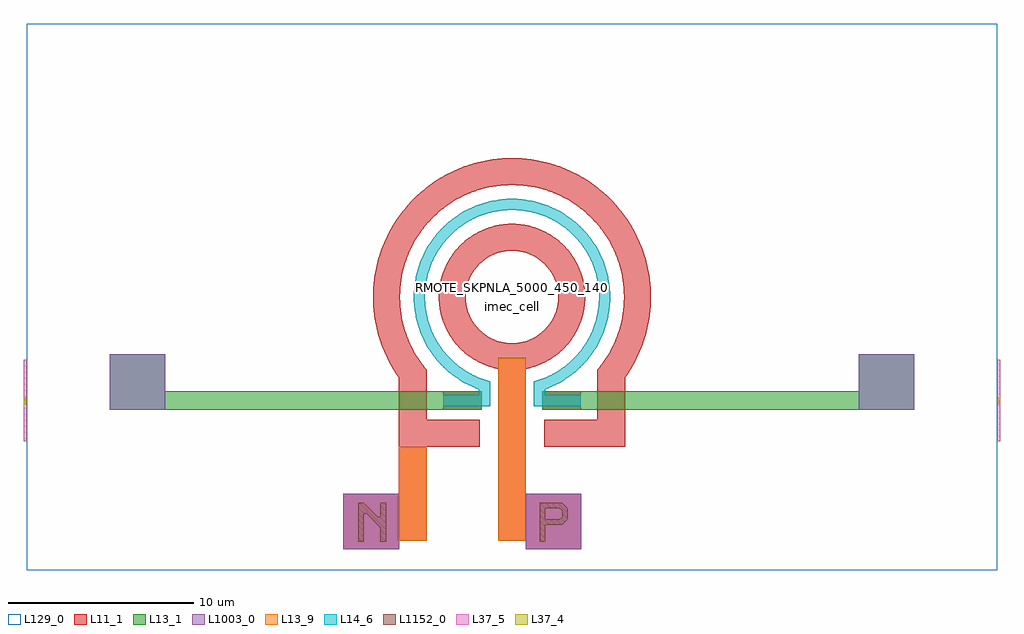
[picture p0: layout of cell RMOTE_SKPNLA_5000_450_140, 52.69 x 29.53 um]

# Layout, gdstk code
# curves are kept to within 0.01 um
import gdstk
lib = gdstk.Library(unit=1e-6, precision=1e-09)
def R(c, l, rs):  # rectangles x0, y0, x1, y1
    for r in rs: c.add(gdstk.rectangle(r[:2], r[2:], *l))
def P(c, l, *ps):  # polygons
    for p in ps: c.add(gdstk.Polygon(p, *l))
L11_1 = (11, 1)
L13_1 = (13, 1)
L13_9 = (13, 9)
L14_6 = (14, 6)
L37_4 = (37, 4)
L37_5 = (37, 5)
L129_0 = (129, 0)
L1003_0 = (1003, 0)
L1152_0 = (1152, 0)

rmote_skpnla_5000_450_14 = lib.new_cell('RMOTE_SKPNLA_5000_450_140')
R(rmote_skpnla_5000_450_14, L11_1, [(-3.721,-6.09,-1.641,-5.09), (1.641,-6.09,3.721,-5.09)])
P(rmote_skpnla_5000_450_14, L11_1, [(0.75,-13.625),(0.75,-13.165),(-0.75,-13.165),(-0.75,-3.878),(-1.089,-3.797),(-1.416,-3.688),(-1.732,-3.55),(-1.975,-3.421),(-2.266,-3.236),(-2.486,-3.07),(-2.744,-2.841),(-2.981,-2.591),(-3.196,-2.322),(-3.386,-2.034),(-3.55,-1.732),(-3.688,-1.416),(-3.797,-1.089),(-3.864,-0.821),(-3.912,-0.55),(-3.945,-0.207),(-3.945,0.207),(-3.912,0.55),(-3.833,0.956),(-3.712,1.351),(-3.55,1.732),(-3.386,2.034),(-3.196,2.322),(-2.935,2.643),(-2.694,2.889),(-2.377,3.155),(-2.093,3.35),(-1.732,3.55),(-1.351,3.712),(-0.956,3.833),(-0.55,3.912),(-0.207,3.945),(0.207,3.945),(0.686,3.89),(1.221,3.757),(1.607,3.609),(2.034,3.386),(2.432,3.113),(2.744,2.841),(3.058,2.5),(-0.044,2.5),(-0.348,2.476),(-0.731,2.391),(-1.057,2.266),(-1.362,2.097),(-1.673,1.858),(-1.858,1.673),(-1.997,1.505),(-2.143,1.288),(-2.266,1.057),(-2.364,0.814),(-2.436,0.562),(-2.476,0.348),(-2.5,0.044),(-2.494,-0.174),(-2.454,-0.477),(-2.378,-0.773),(-2.284,-1.017),(-2.143,-1.288),(-1.997,-1.505),(-1.858,-1.673),(-1.673,-1.858),(-1.398,-2.073),(-1.135,-2.228),(-0.896,-2.334),(-0.605,-2.426),(-0.348,-2.476),(-0.044,-2.5),(0.261,-2.486),(0.562,-2.436),(0.814,-2.364),(1.135,-2.228),(1.398,-2.073),(1.64,-1.887),(1.858,-1.673),(2.048,-1.434),(2.187,-1.212),(2.318,-0.937),(2.415,-0.647),(2.476,-0.348),(2.5,-0.044),(2.486,0.261),(2.436,0.562),(2.364,0.814),(2.228,1.135),(2.097,1.362),(1.887,1.64),(1.673,1.858),(1.434,2.048),(1.212,2.187),(0.937,2.318),(0.647,2.415),(0.348,2.476),(0.044,2.5),(3.058,2.5),(3.236,2.266),(3.421,1.975),(3.55,1.732),(3.688,1.416),(3.797,1.089),(3.864,0.821),(3.912,0.55),(3.945,0.207),(3.945,-0.207),(3.912,-0.55),(3.849,-0.889),(3.757,-1.221),(3.609,-1.607),(3.488,-1.854),(3.313,-2.151),(3.113,-2.432),(2.889,-2.694),(2.643,-2.935),(2.377,-3.155),(2.093,-3.35),(1.732,-3.55),(1.416,-3.688),(1.089,-3.797),(0.75,-3.878),(0.75,-10.625),(3.75,-10.625),(3.75,-13.625)],
  [(-9.1,-13.625),(-9.1,-10.625),(-6.113,-10.625),(-6.113,-4.345),(-6.429,-3.863),(-6.683,-3.405),(-6.954,-2.81),(-7.133,-2.318),(-7.308,-1.687),(-7.408,-1.173),(-7.482,-0.523),(-7.5,0),(-7.482,0.523),(-7.408,1.173),(-7.308,1.687),(-7.172,2.193),(-6.954,2.81),(-6.741,3.288),(-6.495,3.75),(-6.218,4.194),(-5.829,4.72),(-5.574,5.018),(-5.303,5.303),(-5.018,5.574),(-4.72,5.829),(-4.194,6.218),(-3.863,6.429),(-3.521,6.622),(-3.17,6.797),(-2.81,6.954),(-2.193,7.172),(-1.814,7.277),(-1.431,7.362),(-1.044,7.427),(-0.654,7.471),(-0.262,7.495),(0.131,7.499),(0.784,7.459),(1.173,7.408),(1.559,7.336),(2.318,7.133),(2.93,6.904),(3.288,6.741),(3.636,6.56),(4.194,6.218),(4.514,5.99),(4.821,5.745),(5.115,5.485),(5.395,5.21),(5.91,4.617),(6.144,4.302),(6.36,3.974),(6.56,3.636),(6.741,3.288),(6.904,2.93),(7.048,2.565),(7.172,2.193),(7.277,1.814),(7.362,1.431),(7.427,1.044),(7.49,0.393),(7.49,-0.393),(7.427,-1.044),(7.308,-1.687),(7.133,-2.318),(7.002,-2.688),(6.852,-3.051),(6.683,-3.405),(6.495,-3.75),(6.113,-4.345),(6.113,-8.09),(1.75,-8.09),(1.75,-6.64),(4.613,-6.64),(4.613,-3.915),(4.895,-3.556),(5.186,-3.116),(5.438,-2.652),(5.648,-2.168),(5.816,-1.668),(5.918,-1.258),(6.005,-0.737),(6.042,-0.317),(6.049,0.106),(6.017,0.632),(5.958,1.051),(5.87,1.464),(5.754,1.87),(5.569,2.364),(5.391,2.747),(5.186,3.116),(4.895,3.556),(4.635,3.889),(4.278,4.278),(3.889,4.635),(3.47,4.956),(3.025,5.239),(2.557,5.483),(2.069,5.685),(1.566,5.844),(1.051,5.958),(0.527,6.027),(0,6.05),(-0.527,6.027),(-1.051,5.958),(-1.566,5.844),(-2.069,5.685),(-2.461,5.527),(-2.933,5.291),(-3.383,5.016),(-3.725,4.767),(-4.126,4.425),(-4.425,4.126),(-4.702,3.807),(-5.016,3.383),(-5.239,3.025),(-5.483,2.557),(-5.648,2.168),(-5.816,1.668),(-5.918,1.258),(-6.005,0.737),(-6.042,0.317),(-6.049,-0.106),(-6.017,-0.632),(-5.939,-1.154),(-5.816,-1.668),(-5.648,-2.168),(-5.438,-2.652),(-5.186,-3.116),(-4.895,-3.556),(-4.613,-3.915),(-4.613,-6.64),(-1.75,-6.64),(-1.75,-8.09),(-4.613,-8.09),(-4.613,-13.165),(-6.1,-13.165),(-6.1,-13.625)])
P(rmote_skpnla_5000_450_14, L13_1, [(-21.72,-6.09),(-21.72,-3.09),(-18.72,-3.09),(-18.72,-5.09),(-1.641,-5.09),(-1.641,-6.09)],
  [(1.641,-6.09),(1.641,-5.09),(18.72,-5.09),(18.72,-3.09),(21.72,-3.09),(21.72,-6.09)])
R(rmote_skpnla_5000_450_14, L13_9, [(-6.113,-13.165,-4.613,-8.09), (-0.75,-13.165,0.75,-3.275)])
P(rmote_skpnla_5000_450_14, L14_6, [(-3.721,-5.89),(-3.721,-5.29),(-1.786,-5.29),(-1.786,-4.99),(-2.323,-4.764),(-2.809,-4.495),(-3.335,-4.119),(-3.748,-3.748),(-4.119,-3.335),(-4.495,-2.809),(-4.764,-2.323),(-5.011,-1.726),(-5.095,-1.461),(-5.184,-1.102),(-5.271,-0.554),(-5.3,0),(-5.271,0.554),(-5.184,1.102),(-5.095,1.461),(-5.011,1.726),(-4.764,2.323),(-4.495,2.809),(-4.176,3.263),(-3.813,3.682),(-3.407,4.06),(-3.04,4.342),(-2.65,4.59),(-2.156,4.842),(-1.638,5.041),(-1.192,5.164),(-0.738,5.248),(-0.185,5.297),(0.277,5.293),(0.829,5.235),(1.372,5.119),(1.899,4.948),(2.323,4.764),(2.809,4.495),(3.335,4.119),(3.748,3.748),(4.119,3.335),(4.495,2.809),(4.803,2.24),(5.041,1.638),(5.203,1.011),(5.28,0.462),(5.3,0),(5.28,-0.462),(5.235,-0.829),(5.143,-1.282),(5.041,-1.638),(4.879,-2.071),(4.68,-2.488),(4.495,-2.809),(4.233,-3.19),(3.939,-3.546),(3.682,-3.813),(3.335,-4.119),(3.04,-4.342),(2.65,-4.59),(2.156,-4.842),(1.786,-4.99),(1.786,-5.29),(3.721,-5.29),(3.721,-5.89),(1.186,-5.89),(1.186,-4.548),(1.684,-4.388),(2.134,-4.188),(2.491,-3.986),(2.894,-3.704),(3.265,-3.381),(3.653,-2.958),(3.942,-2.56),(4.15,-2.207),(4.358,-1.761),(4.518,-1.295),(4.629,-0.816),(4.689,-0.328),(4.697,0.164),(4.654,0.654),(4.58,1.057),(4.417,1.607),(4.294,1.912),(4.111,2.279),(3.942,2.56),(3.754,2.829),(3.493,3.145),(3.265,3.381),(2.958,3.653),(2.696,3.85),(2.421,4.029),(2.134,4.188),(1.761,4.358),(1.374,4.495),(1.057,4.58),(0.735,4.642),(0.328,4.689),(0,4.7),(-0.328,4.689),(-0.735,4.642),(-1.057,4.58),(-1.374,4.495),(-1.761,4.358),(-2.134,4.188),(-2.421,4.029),(-2.696,3.85),(-2.958,3.653),(-3.265,3.381),(-3.493,3.145),(-3.754,2.829),(-3.942,2.56),(-4.111,2.279),(-4.294,1.912),(-4.417,1.607),(-4.58,1.057),(-4.654,0.654),(-4.697,0.164),(-4.689,-0.328),(-4.629,-0.816),(-4.518,-1.295),(-4.358,-1.761),(-4.15,-2.207),(-3.942,-2.56),(-3.653,-2.958),(-3.265,-3.381),(-2.894,-3.704),(-2.491,-3.986),(-2.134,-4.188),(-1.684,-4.388),(-1.186,-4.548),(-1.186,-5.89)])
R(rmote_skpnla_5000_450_14, L37_4, [(-26.345,-5.78,-26.195,-5.4), (26.195,-5.78,26.345,-5.4)])
R(rmote_skpnla_5000_450_14, L37_5, [(-26.345,-7.78,-26.195,-3.4), (26.195,-7.78,26.345,-3.4)])
R(rmote_skpnla_5000_450_14, L129_0, [(-26.195,-14.765,26.195,14.765)])
R(rmote_skpnla_5000_450_14, L1003_0, [(-9.1,-13.625,-6.1,-10.625), (0.75,-13.625,3.75,-10.625), (-21.72,-6.09,-18.72,-3.09), (18.72,-6.09,21.72,-3.09), (-26.345,-5.78,-26.195,-5.4), (26.195,-5.78,26.345,-5.4)])
P(rmote_skpnla_5000_450_14, L1152_0, [(-8.3,-13.2),(-8.3,-11.1),(-8,-11.1),(-7.25,-11.85),(-7.1,-11.85),(-7.1,-11.1),(-6.8,-11.1),(-6.8,-13.2),(-7.1,-13.2),(-7.1,-12.45),(-7.85,-11.7),(-8,-11.7),(-8,-13.2)],
  [(1.5,-13.2),(1.5,-11.1),(2.7,-11.1),(3,-11.4),(3,-12),(2.7,-12.3),(1.8,-12.3),(1.8,-12),(2.55,-12),(2.7,-11.85),(2.7,-11.55),(2.55,-11.4),(1.8,-11.4),(1.8,-13.2)])
rmote_skpnla_5000_450_14.add(gdstk.Label('RMOTE_SKPNLA_5000_450_140', (0,0.5), layer=1002, texttype=0))
rmote_skpnla_5000_450_14.add(gdstk.Label('ISIPP50G_2_3_0', (0,0), layer=1002, texttype=0))
rmote_skpnla_5000_450_14.add(gdstk.Label('imec_cell', (0,-0.5), layer=1002, texttype=0))

lib.write_gds('RMOTE_SKPNLA_5000_450_140.gds')
